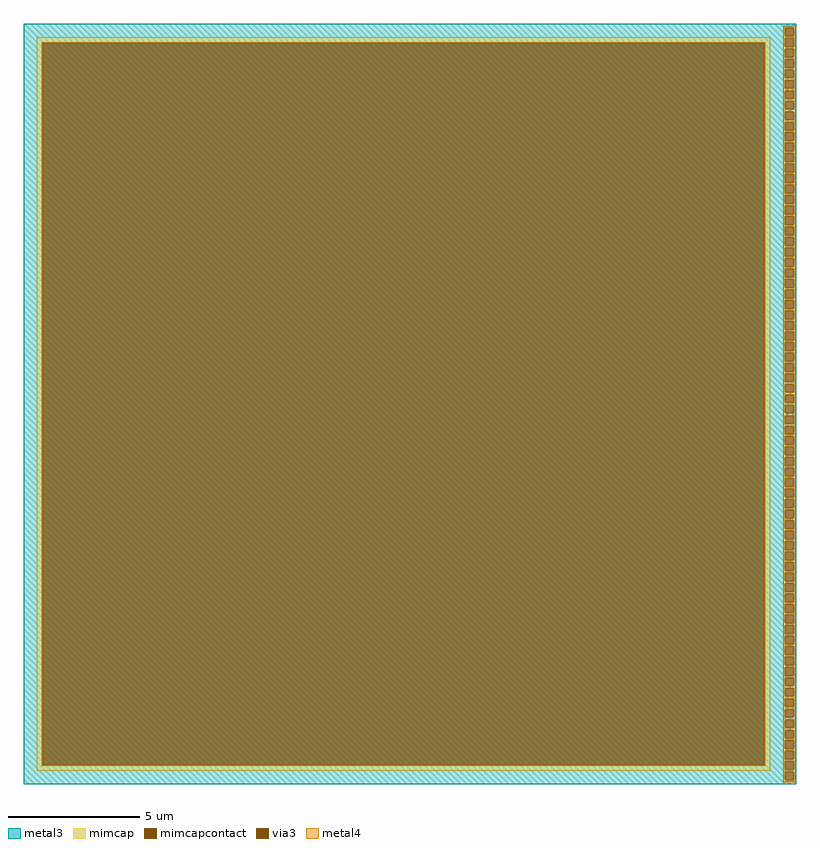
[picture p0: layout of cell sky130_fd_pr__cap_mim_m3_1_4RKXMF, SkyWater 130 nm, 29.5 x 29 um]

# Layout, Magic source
magic
tech sky130B
magscale 1 2
<< metal3 >>
rect -2950 2872 2949 2900
rect -2950 2808 2865 2872
rect 2929 2808 2949 2872
rect -2950 2792 2949 2808
rect -2950 2728 2865 2792
rect 2929 2728 2949 2792
rect -2950 2712 2949 2728
rect -2950 2648 2865 2712
rect 2929 2648 2949 2712
rect -2950 2632 2949 2648
rect -2950 2568 2865 2632
rect 2929 2568 2949 2632
rect -2950 2552 2949 2568
rect -2950 2488 2865 2552
rect 2929 2488 2949 2552
rect -2950 2472 2949 2488
rect -2950 2408 2865 2472
rect 2929 2408 2949 2472
rect -2950 2392 2949 2408
rect -2950 2328 2865 2392
rect 2929 2328 2949 2392
rect -2950 2312 2949 2328
rect -2950 2248 2865 2312
rect 2929 2248 2949 2312
rect -2950 2232 2949 2248
rect -2950 2168 2865 2232
rect 2929 2168 2949 2232
rect -2950 2152 2949 2168
rect -2950 2088 2865 2152
rect 2929 2088 2949 2152
rect -2950 2072 2949 2088
rect -2950 2008 2865 2072
rect 2929 2008 2949 2072
rect -2950 1992 2949 2008
rect -2950 1928 2865 1992
rect 2929 1928 2949 1992
rect -2950 1912 2949 1928
rect -2950 1848 2865 1912
rect 2929 1848 2949 1912
rect -2950 1832 2949 1848
rect -2950 1768 2865 1832
rect 2929 1768 2949 1832
rect -2950 1752 2949 1768
rect -2950 1688 2865 1752
rect 2929 1688 2949 1752
rect -2950 1672 2949 1688
rect -2950 1608 2865 1672
rect 2929 1608 2949 1672
rect -2950 1592 2949 1608
rect -2950 1528 2865 1592
rect 2929 1528 2949 1592
rect -2950 1512 2949 1528
rect -2950 1448 2865 1512
rect 2929 1448 2949 1512
rect -2950 1432 2949 1448
rect -2950 1368 2865 1432
rect 2929 1368 2949 1432
rect -2950 1352 2949 1368
rect -2950 1288 2865 1352
rect 2929 1288 2949 1352
rect -2950 1272 2949 1288
rect -2950 1208 2865 1272
rect 2929 1208 2949 1272
rect -2950 1192 2949 1208
rect -2950 1128 2865 1192
rect 2929 1128 2949 1192
rect -2950 1112 2949 1128
rect -2950 1048 2865 1112
rect 2929 1048 2949 1112
rect -2950 1032 2949 1048
rect -2950 968 2865 1032
rect 2929 968 2949 1032
rect -2950 952 2949 968
rect -2950 888 2865 952
rect 2929 888 2949 952
rect -2950 872 2949 888
rect -2950 808 2865 872
rect 2929 808 2949 872
rect -2950 792 2949 808
rect -2950 728 2865 792
rect 2929 728 2949 792
rect -2950 712 2949 728
rect -2950 648 2865 712
rect 2929 648 2949 712
rect -2950 632 2949 648
rect -2950 568 2865 632
rect 2929 568 2949 632
rect -2950 552 2949 568
rect -2950 488 2865 552
rect 2929 488 2949 552
rect -2950 472 2949 488
rect -2950 408 2865 472
rect 2929 408 2949 472
rect -2950 392 2949 408
rect -2950 328 2865 392
rect 2929 328 2949 392
rect -2950 312 2949 328
rect -2950 248 2865 312
rect 2929 248 2949 312
rect -2950 232 2949 248
rect -2950 168 2865 232
rect 2929 168 2949 232
rect -2950 152 2949 168
rect -2950 88 2865 152
rect 2929 88 2949 152
rect -2950 72 2949 88
rect -2950 8 2865 72
rect 2929 8 2949 72
rect -2950 -8 2949 8
rect -2950 -72 2865 -8
rect 2929 -72 2949 -8
rect -2950 -88 2949 -72
rect -2950 -152 2865 -88
rect 2929 -152 2949 -88
rect -2950 -168 2949 -152
rect -2950 -232 2865 -168
rect 2929 -232 2949 -168
rect -2950 -248 2949 -232
rect -2950 -312 2865 -248
rect 2929 -312 2949 -248
rect -2950 -328 2949 -312
rect -2950 -392 2865 -328
rect 2929 -392 2949 -328
rect -2950 -408 2949 -392
rect -2950 -472 2865 -408
rect 2929 -472 2949 -408
rect -2950 -488 2949 -472
rect -2950 -552 2865 -488
rect 2929 -552 2949 -488
rect -2950 -568 2949 -552
rect -2950 -632 2865 -568
rect 2929 -632 2949 -568
rect -2950 -648 2949 -632
rect -2950 -712 2865 -648
rect 2929 -712 2949 -648
rect -2950 -728 2949 -712
rect -2950 -792 2865 -728
rect 2929 -792 2949 -728
rect -2950 -808 2949 -792
rect -2950 -872 2865 -808
rect 2929 -872 2949 -808
rect -2950 -888 2949 -872
rect -2950 -952 2865 -888
rect 2929 -952 2949 -888
rect -2950 -968 2949 -952
rect -2950 -1032 2865 -968
rect 2929 -1032 2949 -968
rect -2950 -1048 2949 -1032
rect -2950 -1112 2865 -1048
rect 2929 -1112 2949 -1048
rect -2950 -1128 2949 -1112
rect -2950 -1192 2865 -1128
rect 2929 -1192 2949 -1128
rect -2950 -1208 2949 -1192
rect -2950 -1272 2865 -1208
rect 2929 -1272 2949 -1208
rect -2950 -1288 2949 -1272
rect -2950 -1352 2865 -1288
rect 2929 -1352 2949 -1288
rect -2950 -1368 2949 -1352
rect -2950 -1432 2865 -1368
rect 2929 -1432 2949 -1368
rect -2950 -1448 2949 -1432
rect -2950 -1512 2865 -1448
rect 2929 -1512 2949 -1448
rect -2950 -1528 2949 -1512
rect -2950 -1592 2865 -1528
rect 2929 -1592 2949 -1528
rect -2950 -1608 2949 -1592
rect -2950 -1672 2865 -1608
rect 2929 -1672 2949 -1608
rect -2950 -1688 2949 -1672
rect -2950 -1752 2865 -1688
rect 2929 -1752 2949 -1688
rect -2950 -1768 2949 -1752
rect -2950 -1832 2865 -1768
rect 2929 -1832 2949 -1768
rect -2950 -1848 2949 -1832
rect -2950 -1912 2865 -1848
rect 2929 -1912 2949 -1848
rect -2950 -1928 2949 -1912
rect -2950 -1992 2865 -1928
rect 2929 -1992 2949 -1928
rect -2950 -2008 2949 -1992
rect -2950 -2072 2865 -2008
rect 2929 -2072 2949 -2008
rect -2950 -2088 2949 -2072
rect -2950 -2152 2865 -2088
rect 2929 -2152 2949 -2088
rect -2950 -2168 2949 -2152
rect -2950 -2232 2865 -2168
rect 2929 -2232 2949 -2168
rect -2950 -2248 2949 -2232
rect -2950 -2312 2865 -2248
rect 2929 -2312 2949 -2248
rect -2950 -2328 2949 -2312
rect -2950 -2392 2865 -2328
rect 2929 -2392 2949 -2328
rect -2950 -2408 2949 -2392
rect -2950 -2472 2865 -2408
rect 2929 -2472 2949 -2408
rect -2950 -2488 2949 -2472
rect -2950 -2552 2865 -2488
rect 2929 -2552 2949 -2488
rect -2950 -2568 2949 -2552
rect -2950 -2632 2865 -2568
rect 2929 -2632 2949 -2568
rect -2950 -2648 2949 -2632
rect -2950 -2712 2865 -2648
rect 2929 -2712 2949 -2648
rect -2950 -2728 2949 -2712
rect -2950 -2792 2865 -2728
rect 2929 -2792 2949 -2728
rect -2950 -2808 2949 -2792
rect -2950 -2872 2865 -2808
rect 2929 -2872 2949 -2808
rect -2950 -2900 2949 -2872
<< via3 >>
rect 2865 2808 2929 2872
rect 2865 2728 2929 2792
rect 2865 2648 2929 2712
rect 2865 2568 2929 2632
rect 2865 2488 2929 2552
rect 2865 2408 2929 2472
rect 2865 2328 2929 2392
rect 2865 2248 2929 2312
rect 2865 2168 2929 2232
rect 2865 2088 2929 2152
rect 2865 2008 2929 2072
rect 2865 1928 2929 1992
rect 2865 1848 2929 1912
rect 2865 1768 2929 1832
rect 2865 1688 2929 1752
rect 2865 1608 2929 1672
rect 2865 1528 2929 1592
rect 2865 1448 2929 1512
rect 2865 1368 2929 1432
rect 2865 1288 2929 1352
rect 2865 1208 2929 1272
rect 2865 1128 2929 1192
rect 2865 1048 2929 1112
rect 2865 968 2929 1032
rect 2865 888 2929 952
rect 2865 808 2929 872
rect 2865 728 2929 792
rect 2865 648 2929 712
rect 2865 568 2929 632
rect 2865 488 2929 552
rect 2865 408 2929 472
rect 2865 328 2929 392
rect 2865 248 2929 312
rect 2865 168 2929 232
rect 2865 88 2929 152
rect 2865 8 2929 72
rect 2865 -72 2929 -8
rect 2865 -152 2929 -88
rect 2865 -232 2929 -168
rect 2865 -312 2929 -248
rect 2865 -392 2929 -328
rect 2865 -472 2929 -408
rect 2865 -552 2929 -488
rect 2865 -632 2929 -568
rect 2865 -712 2929 -648
rect 2865 -792 2929 -728
rect 2865 -872 2929 -808
rect 2865 -952 2929 -888
rect 2865 -1032 2929 -968
rect 2865 -1112 2929 -1048
rect 2865 -1192 2929 -1128
rect 2865 -1272 2929 -1208
rect 2865 -1352 2929 -1288
rect 2865 -1432 2929 -1368
rect 2865 -1512 2929 -1448
rect 2865 -1592 2929 -1528
rect 2865 -1672 2929 -1608
rect 2865 -1752 2929 -1688
rect 2865 -1832 2929 -1768
rect 2865 -1912 2929 -1848
rect 2865 -1992 2929 -1928
rect 2865 -2072 2929 -2008
rect 2865 -2152 2929 -2088
rect 2865 -2232 2929 -2168
rect 2865 -2312 2929 -2248
rect 2865 -2392 2929 -2328
rect 2865 -2472 2929 -2408
rect 2865 -2552 2929 -2488
rect 2865 -2632 2929 -2568
rect 2865 -2712 2929 -2648
rect 2865 -2792 2929 -2728
rect 2865 -2872 2929 -2808
<< mimcap >>
rect -2850 2752 2750 2800
rect -2850 -2752 -2802 2752
rect 2702 -2752 2750 2752
rect -2850 -2800 2750 -2752
<< mimcapcontact >>
rect -2802 -2752 2702 2752
<< metal4 >>
rect 2849 2872 2945 2888
rect 2849 2808 2865 2872
rect 2929 2808 2945 2872
rect 2849 2792 2945 2808
rect -2811 2752 2711 2761
rect -2811 -2752 -2802 2752
rect 2702 -2752 2711 2752
rect -2811 -2761 2711 -2752
rect 2849 2728 2865 2792
rect 2929 2728 2945 2792
rect 2849 2712 2945 2728
rect 2849 2648 2865 2712
rect 2929 2648 2945 2712
rect 2849 2632 2945 2648
rect 2849 2568 2865 2632
rect 2929 2568 2945 2632
rect 2849 2552 2945 2568
rect 2849 2488 2865 2552
rect 2929 2488 2945 2552
rect 2849 2472 2945 2488
rect 2849 2408 2865 2472
rect 2929 2408 2945 2472
rect 2849 2392 2945 2408
rect 2849 2328 2865 2392
rect 2929 2328 2945 2392
rect 2849 2312 2945 2328
rect 2849 2248 2865 2312
rect 2929 2248 2945 2312
rect 2849 2232 2945 2248
rect 2849 2168 2865 2232
rect 2929 2168 2945 2232
rect 2849 2152 2945 2168
rect 2849 2088 2865 2152
rect 2929 2088 2945 2152
rect 2849 2072 2945 2088
rect 2849 2008 2865 2072
rect 2929 2008 2945 2072
rect 2849 1992 2945 2008
rect 2849 1928 2865 1992
rect 2929 1928 2945 1992
rect 2849 1912 2945 1928
rect 2849 1848 2865 1912
rect 2929 1848 2945 1912
rect 2849 1832 2945 1848
rect 2849 1768 2865 1832
rect 2929 1768 2945 1832
rect 2849 1752 2945 1768
rect 2849 1688 2865 1752
rect 2929 1688 2945 1752
rect 2849 1672 2945 1688
rect 2849 1608 2865 1672
rect 2929 1608 2945 1672
rect 2849 1592 2945 1608
rect 2849 1528 2865 1592
rect 2929 1528 2945 1592
rect 2849 1512 2945 1528
rect 2849 1448 2865 1512
rect 2929 1448 2945 1512
rect 2849 1432 2945 1448
rect 2849 1368 2865 1432
rect 2929 1368 2945 1432
rect 2849 1352 2945 1368
rect 2849 1288 2865 1352
rect 2929 1288 2945 1352
rect 2849 1272 2945 1288
rect 2849 1208 2865 1272
rect 2929 1208 2945 1272
rect 2849 1192 2945 1208
rect 2849 1128 2865 1192
rect 2929 1128 2945 1192
rect 2849 1112 2945 1128
rect 2849 1048 2865 1112
rect 2929 1048 2945 1112
rect 2849 1032 2945 1048
rect 2849 968 2865 1032
rect 2929 968 2945 1032
rect 2849 952 2945 968
rect 2849 888 2865 952
rect 2929 888 2945 952
rect 2849 872 2945 888
rect 2849 808 2865 872
rect 2929 808 2945 872
rect 2849 792 2945 808
rect 2849 728 2865 792
rect 2929 728 2945 792
rect 2849 712 2945 728
rect 2849 648 2865 712
rect 2929 648 2945 712
rect 2849 632 2945 648
rect 2849 568 2865 632
rect 2929 568 2945 632
rect 2849 552 2945 568
rect 2849 488 2865 552
rect 2929 488 2945 552
rect 2849 472 2945 488
rect 2849 408 2865 472
rect 2929 408 2945 472
rect 2849 392 2945 408
rect 2849 328 2865 392
rect 2929 328 2945 392
rect 2849 312 2945 328
rect 2849 248 2865 312
rect 2929 248 2945 312
rect 2849 232 2945 248
rect 2849 168 2865 232
rect 2929 168 2945 232
rect 2849 152 2945 168
rect 2849 88 2865 152
rect 2929 88 2945 152
rect 2849 72 2945 88
rect 2849 8 2865 72
rect 2929 8 2945 72
rect 2849 -8 2945 8
rect 2849 -72 2865 -8
rect 2929 -72 2945 -8
rect 2849 -88 2945 -72
rect 2849 -152 2865 -88
rect 2929 -152 2945 -88
rect 2849 -168 2945 -152
rect 2849 -232 2865 -168
rect 2929 -232 2945 -168
rect 2849 -248 2945 -232
rect 2849 -312 2865 -248
rect 2929 -312 2945 -248
rect 2849 -328 2945 -312
rect 2849 -392 2865 -328
rect 2929 -392 2945 -328
rect 2849 -408 2945 -392
rect 2849 -472 2865 -408
rect 2929 -472 2945 -408
rect 2849 -488 2945 -472
rect 2849 -552 2865 -488
rect 2929 -552 2945 -488
rect 2849 -568 2945 -552
rect 2849 -632 2865 -568
rect 2929 -632 2945 -568
rect 2849 -648 2945 -632
rect 2849 -712 2865 -648
rect 2929 -712 2945 -648
rect 2849 -728 2945 -712
rect 2849 -792 2865 -728
rect 2929 -792 2945 -728
rect 2849 -808 2945 -792
rect 2849 -872 2865 -808
rect 2929 -872 2945 -808
rect 2849 -888 2945 -872
rect 2849 -952 2865 -888
rect 2929 -952 2945 -888
rect 2849 -968 2945 -952
rect 2849 -1032 2865 -968
rect 2929 -1032 2945 -968
rect 2849 -1048 2945 -1032
rect 2849 -1112 2865 -1048
rect 2929 -1112 2945 -1048
rect 2849 -1128 2945 -1112
rect 2849 -1192 2865 -1128
rect 2929 -1192 2945 -1128
rect 2849 -1208 2945 -1192
rect 2849 -1272 2865 -1208
rect 2929 -1272 2945 -1208
rect 2849 -1288 2945 -1272
rect 2849 -1352 2865 -1288
rect 2929 -1352 2945 -1288
rect 2849 -1368 2945 -1352
rect 2849 -1432 2865 -1368
rect 2929 -1432 2945 -1368
rect 2849 -1448 2945 -1432
rect 2849 -1512 2865 -1448
rect 2929 -1512 2945 -1448
rect 2849 -1528 2945 -1512
rect 2849 -1592 2865 -1528
rect 2929 -1592 2945 -1528
rect 2849 -1608 2945 -1592
rect 2849 -1672 2865 -1608
rect 2929 -1672 2945 -1608
rect 2849 -1688 2945 -1672
rect 2849 -1752 2865 -1688
rect 2929 -1752 2945 -1688
rect 2849 -1768 2945 -1752
rect 2849 -1832 2865 -1768
rect 2929 -1832 2945 -1768
rect 2849 -1848 2945 -1832
rect 2849 -1912 2865 -1848
rect 2929 -1912 2945 -1848
rect 2849 -1928 2945 -1912
rect 2849 -1992 2865 -1928
rect 2929 -1992 2945 -1928
rect 2849 -2008 2945 -1992
rect 2849 -2072 2865 -2008
rect 2929 -2072 2945 -2008
rect 2849 -2088 2945 -2072
rect 2849 -2152 2865 -2088
rect 2929 -2152 2945 -2088
rect 2849 -2168 2945 -2152
rect 2849 -2232 2865 -2168
rect 2929 -2232 2945 -2168
rect 2849 -2248 2945 -2232
rect 2849 -2312 2865 -2248
rect 2929 -2312 2945 -2248
rect 2849 -2328 2945 -2312
rect 2849 -2392 2865 -2328
rect 2929 -2392 2945 -2328
rect 2849 -2408 2945 -2392
rect 2849 -2472 2865 -2408
rect 2929 -2472 2945 -2408
rect 2849 -2488 2945 -2472
rect 2849 -2552 2865 -2488
rect 2929 -2552 2945 -2488
rect 2849 -2568 2945 -2552
rect 2849 -2632 2865 -2568
rect 2929 -2632 2945 -2568
rect 2849 -2648 2945 -2632
rect 2849 -2712 2865 -2648
rect 2929 -2712 2945 -2648
rect 2849 -2728 2945 -2712
rect 2849 -2792 2865 -2728
rect 2929 -2792 2945 -2728
rect 2849 -2808 2945 -2792
rect 2849 -2872 2865 -2808
rect 2929 -2872 2945 -2808
rect 2849 -2888 2945 -2872
<< properties >>
string FIXED_BBOX -2950 -2900 2850 2900
<< end >>
